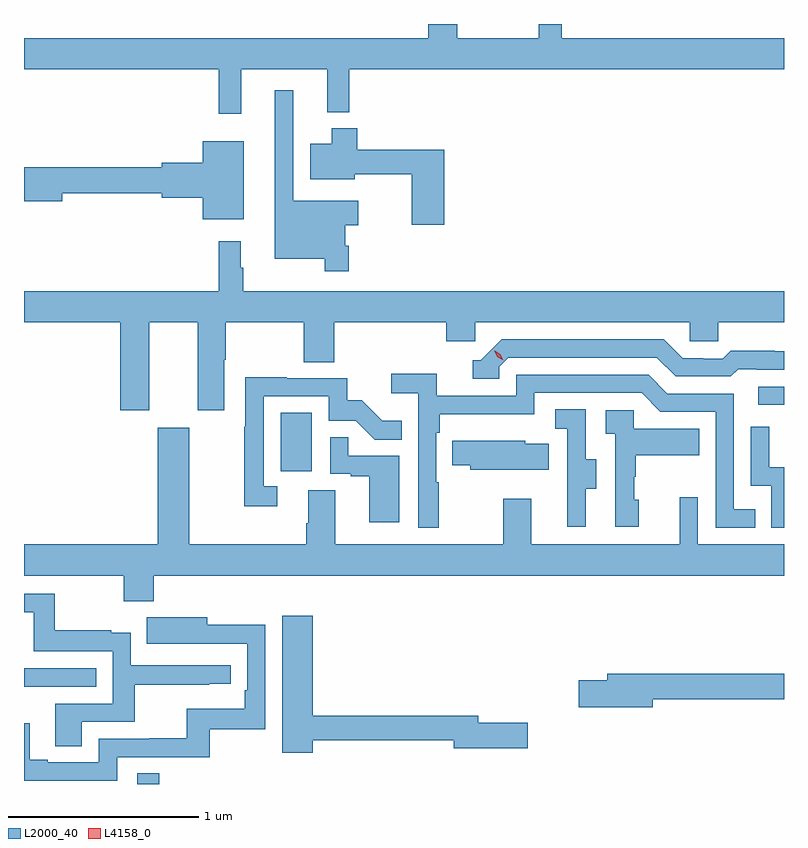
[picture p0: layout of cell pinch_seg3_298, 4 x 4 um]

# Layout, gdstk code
import gdstk
lib = gdstk.Library(unit=1e-6, precision=1e-09)
def R(c, l, rs):  # rectangles x0, y0, x1, y1
    for r in rs: c.add(gdstk.rectangle(r[:2], r[2:], *l))
def P(c, l, *ps):  # polygons
    for p in ps: c.add(gdstk.Polygon(p, *l))
L2000_40 = (2000, 40)
L4158_0 = (4158, 0)

pinch_seg3_298 = lib.new_cell('pinch_seg3_298')
R(pinch_seg3_298, L2000_40, [(974.421,722.463,974.537,722.519), (973.826,722.976,974.207,723.072), (975.176,724.11,975.34,724.417), (977.691,724.458,977.826,724.554)])
P(pinch_seg3_298, L2000_40, [(974.969,726.224),(975.422,726.224),(975.422,725.999),(975.539,725.999),(975.539,726.224),(977.826,726.224),(977.826,726.388),(976.657,726.388),(976.657,726.463),(976.535,726.463),(976.535,726.388),(976.105,726.388),(976.105,726.463),(975.953,726.463),(975.953,726.388),(973.826,726.388),(973.826,726.224),(974.851,726.224),(974.851,725.991),(974.969,725.991)],
  [(975.536,725.295),(975.517,725.295),(975.517,725.404),(975.586,725.404),(975.586,725.533),(975.243,725.533),(975.243,726.115),(975.146,726.115),(975.146,725.228),(975.408,725.228),(975.408,725.163),(975.536,725.163)],
  [(976.037,725.8),(975.581,725.8),(975.581,725.914),(975.446,725.914),(975.446,725.833),(975.332,725.833),(975.332,725.645),(975.568,725.645),(975.568,725.671),(975.866,725.671),(975.866,725.406),(976.037,725.406)],
  [(974.983,725.845),(974.768,725.845),(974.768,725.732),(974.552,725.732),(974.552,725.708),(973.826,725.708),(973.826,725.53),(974.026,725.53),(974.026,725.572),(974.552,725.572),(974.552,725.549),(974.768,725.549),(974.768,725.435),(974.983,725.435)],
  [(974.485,724.892),(974.741,724.892),(974.741,724.431),(974.881,724.431),(974.881,724.696),(974.889,724.696),(974.889,724.892),(975.298,724.892),(975.298,724.684),(975.458,724.684),(975.458,724.892),(976.049,724.892),(976.049,724.794),(976.2,724.794),(976.2,724.892),(977.331,724.892),(977.331,724.794),(977.481,724.794),(977.481,724.892),(977.826,724.892),(977.826,725.056),(974.98,725.056),(974.98,725.18),(974.968,725.18),(974.968,725.32),(974.851,725.32),(974.851,725.056),(973.826,725.056),(973.826,724.892),(974.333,724.892),(974.333,724.431),(974.485,724.431)],
  [(976.326,724.659),(976.374,724.707),(977.157,724.707),(977.256,724.608),(977.545,724.608),(977.584,724.647),(977.683,724.647),(977.683,724.644),(977.826,724.644),(977.826,724.741),(977.778,724.741),(977.778,724.744),(977.545,724.744),(977.503,724.701),(977.4,724.701),(977.4,724.704),(977.293,724.704),(977.194,724.803),(976.341,724.803),(976.23,724.692),(976.187,724.692),(976.187,724.596),(976.326,724.596)],
  [(976.009,724.052),(975.996,724.052),(975.996,724.313),(976.013,724.313),(976.013,724.409),(976.512,724.409),(976.512,724.521),(977.076,724.521),(977.175,724.422),(977.466,724.422),(977.466,723.813),(977.675,723.813),(977.675,723.909),(977.562,723.909),(977.562,724.518),(977.212,724.518),(977.113,724.617),(976.416,724.617),(976.416,724.506),(975.998,724.506),(975.998,724.622),(975.759,724.622),(975.759,724.52),(975.9,724.52),(975.9,723.813),(976.009,723.813)],
  [(975.16,724.029),(975.087,724.029),(975.087,724.503),(975.429,724.503),(975.429,724.374),(975.573,724.374),(975.671,724.276),(975.815,724.276),(975.815,724.375),(975.711,724.375),(975.604,724.482),(975.528,724.482),(975.528,724.599),(975.209,724.599),(975.209,724.604),(974.991,724.604),(974.991,724.343),(974.986,724.343),(974.986,723.924),(975.16,723.924)],
  [(976.783,724.018),(976.837,724.018),(976.837,724.173),(976.782,724.173),(976.782,724.436),(976.623,724.436),(976.623,724.333),(976.686,724.333),(976.686,724.029),(976.685,724.029),(976.685,723.816),(976.783,723.816)],
  [(977.062,723.96),(977.037,723.96),(977.037,724.079),(977.047,724.079),(977.047,724.193),(977.381,724.193),(977.381,724.333),(977.034,724.333),(977.034,724.431),(976.887,724.431),(976.887,724.307),(976.938,724.307),(976.938,723.816),(977.062,723.816)],
  [(977.826,724.13),(977.748,724.13),(977.748,724.342),(977.652,724.342),(977.652,724.032),(977.76,724.032),(977.76,723.813),(977.826,723.813)],
  [(974.51,723.56),(977.826,723.56),(977.826,723.724),(977.373,723.724),(977.373,723.973),(977.276,723.973),(977.276,723.724),(976.495,723.724),(976.495,723.964),(976.348,723.964),(976.348,723.724),(975.463,723.724),(975.463,724.01),(975.323,724.01),(975.323,723.836),(975.311,723.836),(975.311,723.724),(974.695,723.724),(974.695,724.339),(974.531,724.339),(974.531,723.724),(973.826,723.724),(973.826,723.56),(974.35,723.56),(974.35,723.425),(974.51,723.425)],
  [(975.802,724.191),(975.533,724.191),(975.533,724.289),(975.438,724.289),(975.438,724.095),(975.545,724.095),(975.545,724.083),(975.644,724.083),(975.644,723.84),(975.802,723.84)],
  [(976.589,724.255),(976.464,724.255),(976.464,724.27),(976.192,724.27),(976.192,724.269),(976.081,724.269),(976.081,724.141),(976.175,724.141),(976.175,724.118),(976.589,724.118)],
  [(974.131,722.79),(974.408,722.79),(974.408,722.986),(974.801,722.986),(974.801,722.991),(974.914,722.991),(974.914,723.087),(974.388,723.087),(974.388,723.259),(974.285,723.259),(974.285,723.271),(973.987,723.271),(973.987,723.465),(973.826,723.465),(973.826,723.368),(973.876,723.368),(973.876,723.162),(974.292,723.162),(974.292,722.886),(973.991,722.886),(973.991,722.662),(974.131,722.662)],
  [(975.346,722.694),(976.088,722.694),(976.088,722.651),(976.477,722.651),(976.477,722.786),(976.216,722.786),(976.216,722.822),(975.346,722.822),(975.346,723.349),(975.185,723.349),(975.185,722.628),(975.346,722.628)],
  [(974.316,722.604),(974.803,722.604),(974.803,722.751),(975.096,722.751),(975.096,723.302),(974.791,723.302),(974.791,723.34),(974.473,723.34),(974.473,723.2),(974.687,723.2),(974.687,723.201),(975,723.201),(975,722.956),(974.987,722.956),(974.987,722.86),(974.682,722.86),(974.682,722.705),(974.485,722.705),(974.485,722.7),(974.22,722.7),(974.22,722.577),(973.951,722.577),(973.951,722.59),(973.855,722.59),(973.855,722.783),(973.826,722.783),(973.826,722.481),(974.316,722.481)],
  [(977.134,722.908),(977.826,722.908),(977.826,723.044),(976.895,723.044),(976.895,723.008),(976.746,723.008),(976.746,722.866),(977.134,722.866)])
P(pinch_seg3_298, L4158_0, [(976.349,724.692),(976.318,724.712),(976.302,724.744),(976.302,724.744),(976.303,724.744),(976.333,724.725),(976.349,724.693),(976.349,724.692)])

lib.write_gds('pinch_seg3_298.gds')
